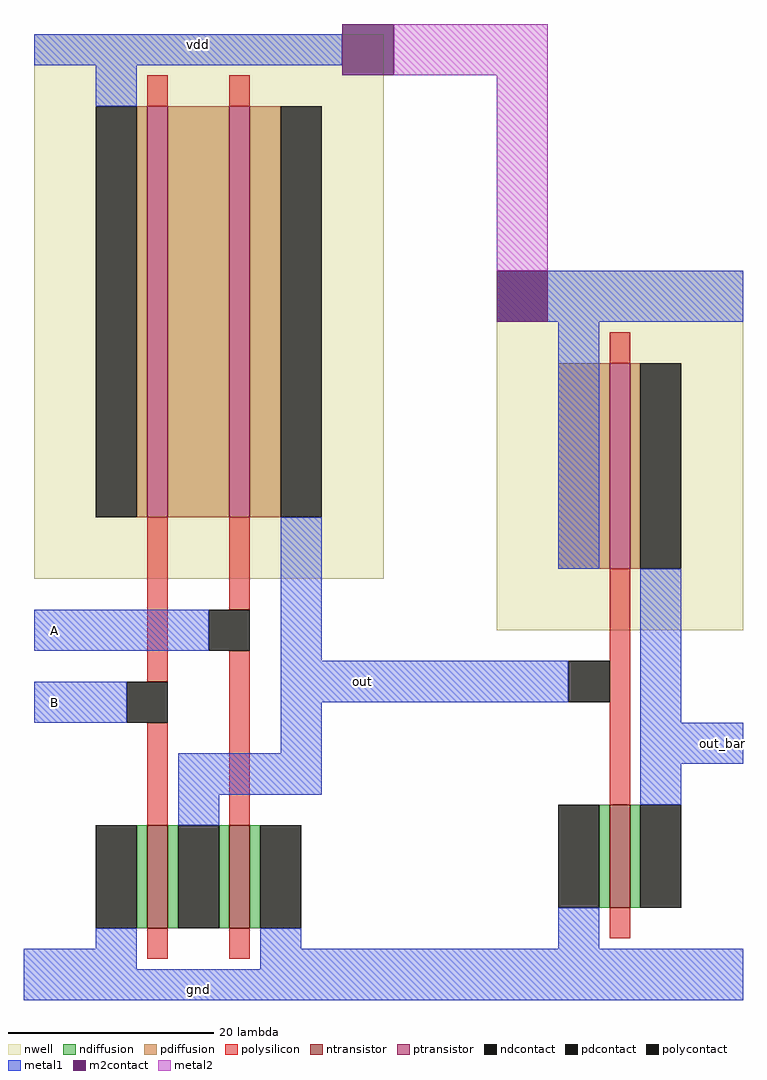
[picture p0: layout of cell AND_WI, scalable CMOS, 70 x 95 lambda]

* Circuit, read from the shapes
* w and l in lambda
.subckt AND_WI A B gnd out out_bar vdd
M1 out B gnd VSUBS nfet w=10 l=2
M2 gnd A out VSUBS nfet w=10 l=2
M3 out_bar out gnd VSUBS nfet w=10 l=2
M4 n1 B vdd n2 pfet w=40 l=2
M5 out A n1 n2 pfet w=40 l=2
M6 out_bar out n3 n4 pfet w=20 l=2
.ends

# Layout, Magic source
magic
tech scmos
<< nwell >>
rect 0 -1 34 52
rect 51 0 55 22
<< ntransistor >>
rect 11 -35 13 -25
rect 19 -35 21 -25
<< ptransistor >>
rect 11 5 13 45
rect 19 5 21 45
<< ndiffusion >>
rect 10 -35 11 -25
rect 13 -35 14 -25
rect 18 -35 19 -25
rect 21 -35 22 -25
<< pdiffusion >>
rect 10 5 11 45
rect 13 5 19 45
rect 21 5 24 45
<< ndcontact >>
rect 6 -35 10 -25
rect 14 -35 18 -25
rect 22 -35 26 -25
<< pdcontact >>
rect 6 5 10 45
rect 24 5 28 45
<< polysilicon >>
rect 11 45 13 48
rect 19 45 21 48
rect 11 -11 13 5
rect 19 -4 21 5
rect 11 -25 13 -15
rect 19 -25 21 -8
rect 11 -38 13 -35
rect 19 -38 21 -35
<< polycontact >>
rect 17 -8 21 -4
rect 9 -15 13 -11
<< metal1 >>
rect 0 49 30 52
rect 6 45 10 49
rect 0 -8 17 -4
rect 24 -9 28 5
rect 51 0 55 22
rect 0 -15 9 -11
rect 24 -13 52 -9
rect 24 -18 28 -13
rect 14 -22 28 -18
rect 62 -19 69 -15
rect 14 -25 18 -22
rect 6 -37 10 -35
rect -1 -39 10 -37
rect 22 -37 26 -35
rect 22 -39 69 -37
rect -1 -42 69 -39
<< m2contact >>
rect 30 48 35 53
rect 45 24 50 29
<< metal2 >>
rect 35 48 50 53
rect 45 29 50 48
use 2INV  2INV_0
transform 1 0 45 0 1 -87
box 0 45 24 116
<< labels >>
rlabel metal1 2 -6 2 -6 3 A
rlabel metal1 2 -13 2 -13 3 B
rlabel metal1 32 -11 32 -11 7 out
rlabel metal1 16 -41 16 -41 1 gnd
rlabel metal1 16 51 16 51 5 vdd
rlabel metal1 67 -17 67 -17 7 out_bar
<< end >>

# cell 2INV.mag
magic
tech scmos
<< nwell >>
rect 0 81 24 116
<< ntransistor >>
rect 11 54 13 64
<< ptransistor >>
rect 11 87 13 107
<< ndiffusion >>
rect 10 54 11 64
rect 13 54 14 64
<< pdiffusion >>
rect 6 87 11 107
rect 13 87 14 107
<< ndcontact >>
rect 6 54 10 64
rect 14 54 18 64
<< pdcontact >>
rect 14 87 18 107
<< polysilicon >>
rect 11 107 13 110
rect 11 64 13 87
rect 11 51 13 54
<< polycontact >>
rect 7 74 11 78
<< metal1 >>
rect 0 111 24 116
rect 6 87 10 111
rect 0 74 7 78
rect 14 72 18 87
rect 14 68 24 72
rect 14 64 18 68
rect 6 50 10 54
rect 0 45 24 50
<< end >>
